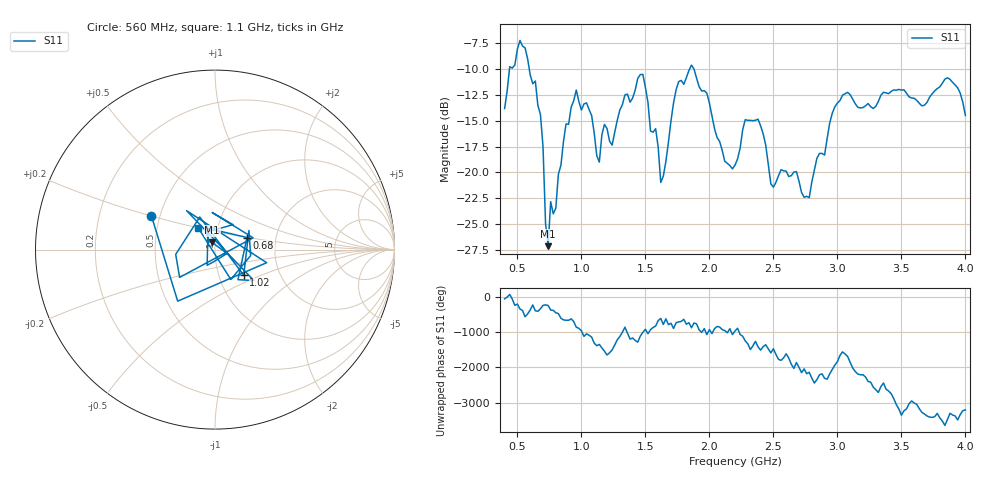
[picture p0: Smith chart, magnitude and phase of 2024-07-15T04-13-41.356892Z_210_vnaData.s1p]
!Created with skrf (http://scikit-rf.org).
# Hz S RI R 50.0
!freq ReS11 ImS11
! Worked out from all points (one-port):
!   181 points, 400 MHz to 4 GHz, reference 50 ohm
!   lowest |S11| = -27.2 dB at 740 MHz (marker M1), VSWR 1.09, Z = 48.2 + j3.92 ohm
!   |S11| at or under -10 dB: start of sweep to 437.9 MHz; 592.9 MHz to 1.845 GHz (1.252 GHz wide, 103 % of centre); 1.88 GHz to end of sweep
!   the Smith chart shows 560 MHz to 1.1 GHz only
!   S11 on the Smith chart (normalised r, x): 560 MHz: 0.45, +0.20; 680 MHz: 1.42, +0.20; 1.02 GHz: 1.31, -0.39; 1.1 GHz: 0.80, +0.20
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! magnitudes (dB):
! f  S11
! 400 MHz  -13.8
! 440 MHz  -9.8
! 560 MHz  -7.9
! 680 MHz  -14.4
! 740 MHz  -27.2
! 760 MHz  -22.9
! 800 MHz  -23.5
! 860 MHz  -17.0
! 960 MHz  -12.0
! 1.02 GHz  -13.4
! 1.1 GHz  -16.2
! 1.14 GHz  -19.0
! 1.3 GHz  -14.0
! 1.48 GHz  -10.5
! 1.62 GHz  -21.0
! 1.76 GHz  -11.2
! 1.86 GHz  -9.6
! 2.2 GHz  -19.3
! 2.28 GHz  -14.9
! 2.38 GHz  -14.8
! 2.48 GHz  -21.1
! 2.66 GHz  -20.0
! 2.78 GHz  -22.5
! 2.98 GHz  -13.6
! 3.1 GHz  -12.5
! 3.56 GHz  -12.7
! 3.86 GHz  -10.8
! 4 GHz  -14.5
